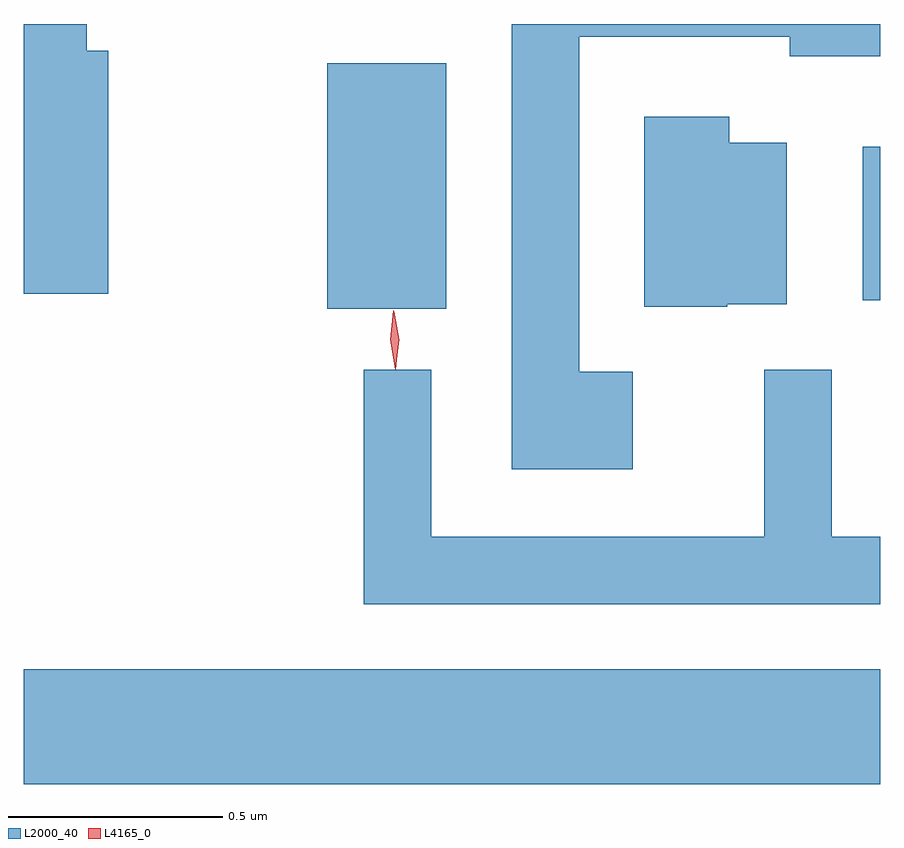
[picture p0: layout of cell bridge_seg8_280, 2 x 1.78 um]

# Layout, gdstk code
import gdstk
lib = gdstk.Library(unit=1e-6, precision=1e-09)
def R(c, l, rs):  # rectangles x0, y0, x1, y1
    for r in rs: c.add(gdstk.rectangle(r[:2], r[2:], *l))
def P(c, l, *ps):  # polygons
    for p in ps: c.add(gdstk.Polygon(p, *l))
L2000_40 = (2000, 40)
L4165_0 = (4165, 0)

bridge_seg8_280 = lib.new_cell('bridge_seg8_280')
R(bridge_seg8_280, L2000_40, [(1416.347,1869.716,1418.347,1869.984), (1417.056,1870.826,1417.334,1871.399), (1418.306,1870.846,1418.347,1871.204)])
P(bridge_seg8_280, L2000_40, [(1416.544,1871.429),(1416.494,1871.429),(1416.494,1871.491),(1416.347,1871.491),(1416.347,1870.861),(1416.544,1870.861)],
  [(1417.769,1870.679),(1417.644,1870.679),(1417.644,1871.461),(1418.136,1871.461),(1418.136,1871.416),(1418.347,1871.416),(1418.347,1871.491),(1417.486,1871.491),(1417.486,1870.451),(1417.769,1870.451)],
  [(1417.99,1870.836),(1418.129,1870.836),(1418.129,1871.214),(1417.994,1871.214),(1417.994,1871.274),(1417.796,1871.274),(1417.796,1870.831),(1417.99,1870.831)],
  [(1418.347,1870.294),(1418.234,1870.294),(1418.234,1870.683),(1418.076,1870.683),(1418.076,1870.294),(1417.299,1870.294),(1417.299,1870.683),(1417.141,1870.683),(1417.141,1870.136),(1418.347,1870.136)])
P(bridge_seg8_280, L4165_0, [(1417.216,1870.684),(1417.215,1870.685),(1417.203,1870.753),(1417.21,1870.821),(1417.21,1870.822),(1417.211,1870.821),(1417.223,1870.753),(1417.216,1870.685)],
  [(1417.215,1870.688),(1417.204,1870.753),(1417.212,1870.819),(1417.212,1870.819),(1417.212,1870.819),(1417.224,1870.754),(1417.216,1870.688),(1417.216,1870.688)])

lib.write_gds('bridge_seg8_280.gds')
